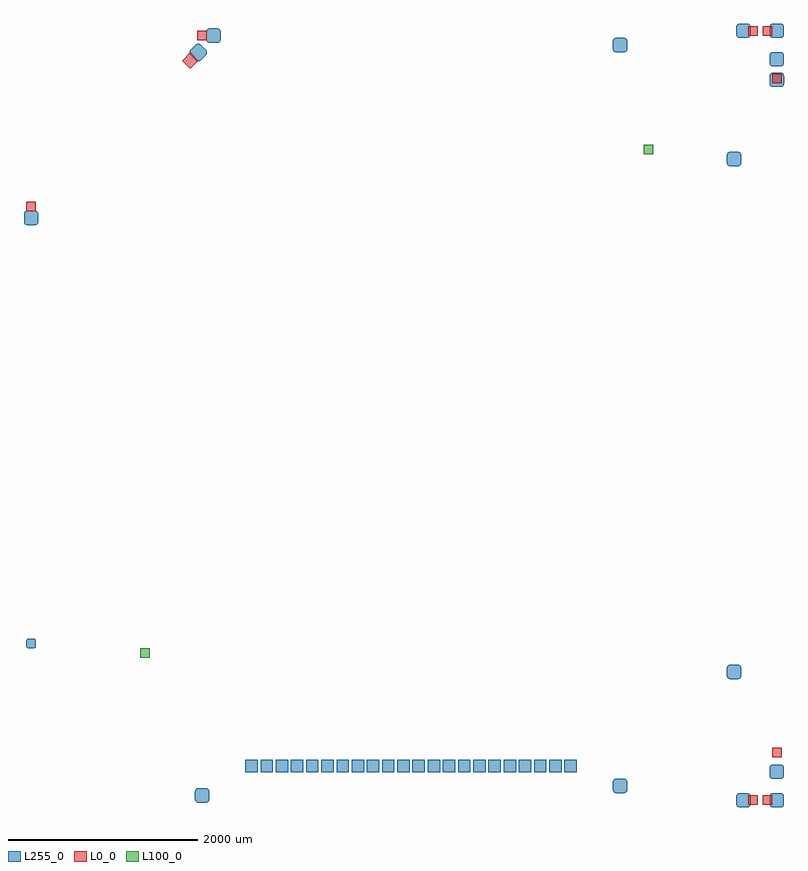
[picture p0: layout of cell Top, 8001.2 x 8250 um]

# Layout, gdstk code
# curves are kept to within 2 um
import gdstk
lib = gdstk.Library(unit=1e-6, precision=1e-09)
def R(c, l, rs):  # rectangles x0, y0, x1, y1
    for r in rs: c.add(gdstk.rectangle(r[:2], r[2:], *l))
def A(c, l, x, y, w, h, nx, ny, dx, dy):  # array of equal rectangles
    R(c, l, [(x+i*dx, y+j*dy, x+i*dx+w, y+j*dy+h) for i in range(nx) for j in range(ny)])
def P(c, l, *ps):  # polygons
    for p in ps: c.add(gdstk.Polygon(p, *l))
L0_0 = (0, 0)
L100_0 = (100, 0)
L255_0 = (255, 0)

top = lib.new_cell('Top')
R(top, L0_0, [(3550,-4100,3650,-4000), (3700,-4100,3800,-4000), (3800,-3600,3900,-3500), (-4050,2150,-3950,2250), (3800,3500,3900,3600), (-2250,3950,-2150,4050), (3550,4000,3650,4100), (3700,4000,3800,4100)])
P(top, L0_0, [(-2324.9,3652.15),(-2409.75,3737),(-2324.9,3821.85),(-2240.05,3737)])
R(top, L100_0, [(-2850,-2550,-2750,-2450), (2450,2750,2550,2850)])
A(top, L255_0, -1745, -3756.5, 130, 130, 22, 1, 160, 0)
P(top, L255_0, [(3775,4050),(3777.043,4099.709),(3785.983,4114.017),(3800.912,4123.165),(3894.655,4124.311),(3912.102,4115.802),(3923.165,4099.088),(3925,4050)],
  [(3812.5,3975),(3793.186,3980.356),(3779.087,3995.475),(3775.091,4009.884),(3775,4050),(3925,4050),(3923.886,4003.428),(3918.218,3990.991),(3908.47,3981.411),(3890.116,3975.091)],
  [(3425,4050),(3427.043,4099.709),(3435.983,4114.017),(3450.912,4123.165),(3544.655,4124.311),(3562.102,4115.802),(3573.165,4099.088),(3575,4050)],
  [(3462.5,3975),(3443.186,3980.356),(3429.087,3995.475),(3425.091,4009.884),(3425,4050),(3575,4050),(3573.886,4003.428),(3568.218,3990.991),(3558.47,3981.411),(3540.116,3975.091)],
  [(-2155,4000),(-2152.957,4049.709),(-2144.017,4064.017),(-2129.088,4073.165),(-2035.345,4074.311),(-2017.898,4065.802),(-2006.835,4049.088),(-2005,4000)],
  [(-2117.5,3925),(-2136.814,3930.356),(-2150.913,3945.475),(-2154.909,3959.884),(-2155,4000),(-2005,4000),(-2006.114,3953.428),(-2011.782,3940.991),(-2021.53,3931.411),(-2039.884,3925.091)],
  [(2125,3900),(2127.043,3949.709),(2135.983,3964.017),(2150.912,3973.165),(2244.655,3974.311),(2262.102,3965.802),(2273.165,3949.088),(2275,3900)],
  [(2162.5,3825),(2143.186,3830.356),(2129.087,3845.475),(2125.091,3859.884),(2125,3900),(2275,3900),(2273.886,3853.428),(2268.218,3840.991),(2258.47,3831.411),(2240.116,3825.091)],
  [(-2330.6,3821.8),(-2327.869,3835.848),(-2319.65,3848.317),(-2263.7,3903.943),(-2252.309,3910.257),(-2240.1,3912.3),(-2226.052,3909.569),(-2213.583,3901.35),(-2157.957,3845.4),(-2151.643,3834.009),(-2149.6,3821.8)],
  [(-2240.1,3731.3),(-2254.148,3734.031),(-2266.617,3742.25),(-2322.243,3798.2),(-2328.557,3809.591),(-2330.6,3821.8),(-2149.6,3821.8),(-2152.331,3807.752),(-2160.55,3795.283),(-2216.5,3739.657),(-2227.891,3733.343)],
  [(3775,3750),(3777.043,3799.709),(3785.983,3814.017),(3800.912,3823.165),(3894.655,3824.311),(3912.102,3815.802),(3923.165,3799.088),(3925,3750)],
  [(3812.5,3675),(3793.186,3680.356),(3779.087,3695.475),(3775.091,3709.884),(3775,3750),(3925,3750),(3923.886,3703.428),(3918.218,3690.991),(3908.47,3681.411),(3890.116,3675.091)],
  [(3776.2,3534.1),(3778.243,3583.809),(3787.183,3598.117),(3802.112,3607.265),(3895.855,3608.411),(3913.302,3599.902),(3924.365,3583.188),(3926.2,3534.1)],
  [(3813.7,3459.1),(3794.386,3464.456),(3780.287,3479.575),(3776.291,3493.984),(3776.2,3534.1),(3926.2,3534.1),(3925.086,3487.528),(3919.418,3475.091),(3909.67,3465.511),(3891.316,3459.191)],
  [(3325,2700),(3327.043,2749.709),(3335.983,2764.017),(3350.912,2773.165),(3444.655,2774.311),(3462.102,2765.802),(3473.165,2749.088),(3475,2700)],
  [(3362.5,2625),(3343.186,2630.356),(3329.087,2645.475),(3325.091,2659.884),(3325,2700),(3475,2700),(3473.886,2653.428),(3468.218,2640.991),(3458.47,2631.411),(3440.116,2625.091)],
  [(-4075,2080),(-4072.957,2129.709),(-4064.017,2144.017),(-4049.088,2153.165),(-3955.345,2154.311),(-3937.898,2145.802),(-3926.835,2129.088),(-3925,2080)],
  [(-4037.5,2005),(-4056.814,2010.356),(-4070.913,2025.475),(-4074.909,2039.884),(-4075,2080),(-3925,2080),(-3926.114,2033.428),(-3931.782,2020.991),(-3941.53,2011.411),(-3959.884,2005.091)],
  [(-4050,-2400),(-4048.638,-2366.861),(-4042.678,-2357.322),(-4033.139,-2351.362),(-3970.23,-2350.459),(-3958.599,-2356.132),(-3951.362,-2366.861),(-3950,-2400)],
  [(-4025,-2450),(-4037.876,-2446.429),(-4047.275,-2436.35),(-4050,-2400),(-3950,-2400),(-3950.743,-2431.048),(-3961.02,-2445.726),(-3973.256,-2449.939)],
  [(3325,-2700),(3327.043,-2650.291),(3335.983,-2635.983),(3350.912,-2626.835),(3444.655,-2625.689),(3462.102,-2634.198),(3473.165,-2650.912),(3475,-2700)],
  [(3362.5,-2775),(3343.186,-2769.644),(3329.087,-2754.525),(3325.091,-2740.116),(3325,-2700),(3475,-2700),(3473.886,-2746.572),(3468.218,-2759.009),(3458.47,-2768.589),(3440.116,-2774.909)],
  [(3775,-3750),(3777.043,-3700.291),(3785.983,-3685.983),(3800.912,-3676.835),(3894.655,-3675.689),(3912.102,-3684.198),(3923.165,-3700.912),(3925,-3750)],
  [(3812.5,-3825),(3793.186,-3819.644),(3779.087,-3804.525),(3775.091,-3790.116),(3775,-3750),(3925,-3750),(3923.886,-3796.572),(3918.218,-3809.009),(3908.47,-3818.589),(3890.116,-3824.909)],
  [(2125,-3900),(2127.043,-3850.291),(2135.983,-3835.983),(2150.912,-3826.835),(2244.655,-3825.689),(2262.102,-3834.198),(2273.165,-3850.912),(2275,-3900)],
  [(2162.5,-3975),(2143.186,-3969.644),(2129.087,-3954.525),(2125.091,-3940.116),(2125,-3900),(2275,-3900),(2273.886,-3946.572),(2268.218,-3959.009),(2258.47,-3968.589),(2240.116,-3974.909)],
  [(-2275,-4000),(-2272.957,-3950.291),(-2264.017,-3935.983),(-2249.088,-3926.835),(-2155.345,-3925.689),(-2137.898,-3934.198),(-2126.835,-3950.912),(-2125,-4000)],
  [(-2237.5,-4075),(-2256.814,-4069.644),(-2270.913,-4054.525),(-2274.909,-4040.116),(-2275,-4000),(-2125,-4000),(-2126.114,-4046.572),(-2131.782,-4059.009),(-2141.53,-4068.589),(-2159.884,-4074.909)],
  [(3775,-4050),(3777.043,-4000.291),(3785.983,-3985.983),(3800.912,-3976.835),(3894.655,-3975.689),(3912.102,-3984.198),(3923.165,-4000.912),(3925,-4050)],
  [(3812.5,-4125),(3793.186,-4119.644),(3779.087,-4104.525),(3775.091,-4090.116),(3775,-4050),(3925,-4050),(3923.886,-4096.572),(3918.218,-4109.009),(3908.47,-4118.589),(3890.116,-4124.909)],
  [(3425,-4050),(3427.043,-4000.291),(3435.983,-3985.983),(3450.912,-3976.835),(3544.655,-3975.689),(3562.102,-3984.198),(3573.165,-4000.912),(3575,-4050)],
  [(3462.5,-4125),(3443.186,-4119.644),(3429.087,-4104.525),(3425.091,-4090.116),(3425,-4050),(3575,-4050),(3573.886,-4096.572),(3568.218,-4109.009),(3558.47,-4118.589),(3540.116,-4124.909)])

lib.write_gds('Top.gds')
